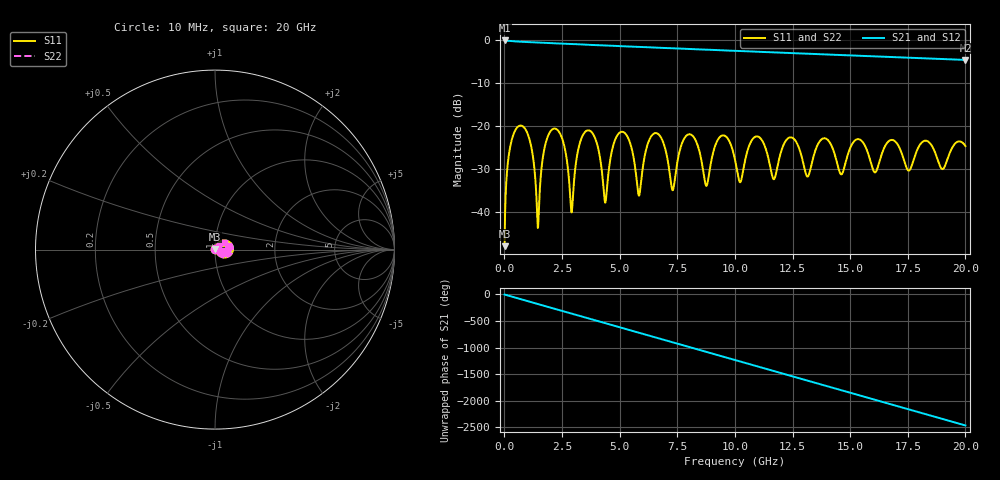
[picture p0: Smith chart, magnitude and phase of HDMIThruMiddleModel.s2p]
! File created by SignalIntegrity v1.4.3: Signal and Power Integrity Tools
! https://github.com/Nubis-Communications/SignalIntegrity
# MHz S MA R 50.0
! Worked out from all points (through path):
!   2000 points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, 10 MHz to 20 GHz, reference 50 ohm
!   highest |S21| = -0.13 dB at 10 MHz (marker M1); lowest = -4.7 dB at 20 GHz (marker M2)
!   group delay of S21, straight-line fit = 342 ps
!   lowest |S11| = -48.0 dB at 10 MHz (marker M3), VSWR 1.01, Z = 50.1 + j0.394 ohm
!   |S11| at or under -10 dB: start of sweep to end of sweep
!   |S22| runs from -48.0 to -19.9 dB; largest |S21 - S12| = 0
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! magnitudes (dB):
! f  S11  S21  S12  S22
! 10 MHz  -48.0  -0.1  -0.1  -48.0
! 200 MHz  -26.5  -0.2  -0.2  -26.5
! 560 MHz  -20.4  -0.4  -0.4  -20.4
! 1.09 GHz  -23.2  -0.5  -0.5  -23.2
! 1.45 GHz  -43.8  -0.6  -0.6  -43.8
! 1.99 GHz  -21.3  -0.7  -0.7  -21.3
! 2.52 GHz  -23.2  -0.9  -0.9  -23.2
! 2.91 GHz  -40.2  -0.9  -0.9  -40.2
! 3.35 GHz  -22.8  -1.1  -1.1  -22.8
! 3.92 GHz  -22.7  -1.2  -1.2  -22.7
! 4.38 GHz  -37.9  -1.3  -1.3  -37.9
! 4.96 GHz  -21.8  -1.4  -1.4  -21.8
! 5.84 GHz  -36.3  -1.6  -1.6  -36.3
! 6.68 GHz  -21.9  -1.8  -1.8  -21.9
! 7.3 GHz  -35.0  -1.9  -1.9  -35.0
! 7.97 GHz  -22.0  -2.1  -2.1  -22.0
! 8.75 GHz  -33.9  -2.3  -2.3  -33.9
! 9.39 GHz  -22.4  -2.4  -2.4  -22.4
! 10.01 GHz  -28.0  -2.5  -2.5  -28.0
! 13.34 GHz  -28.7  -3.2  -3.2  -28.7
! 16.67 GHz  -23.6  -4.0  -4.0  -23.6
! 20 GHz  -24.7  -4.7  -4.7  -24.7
